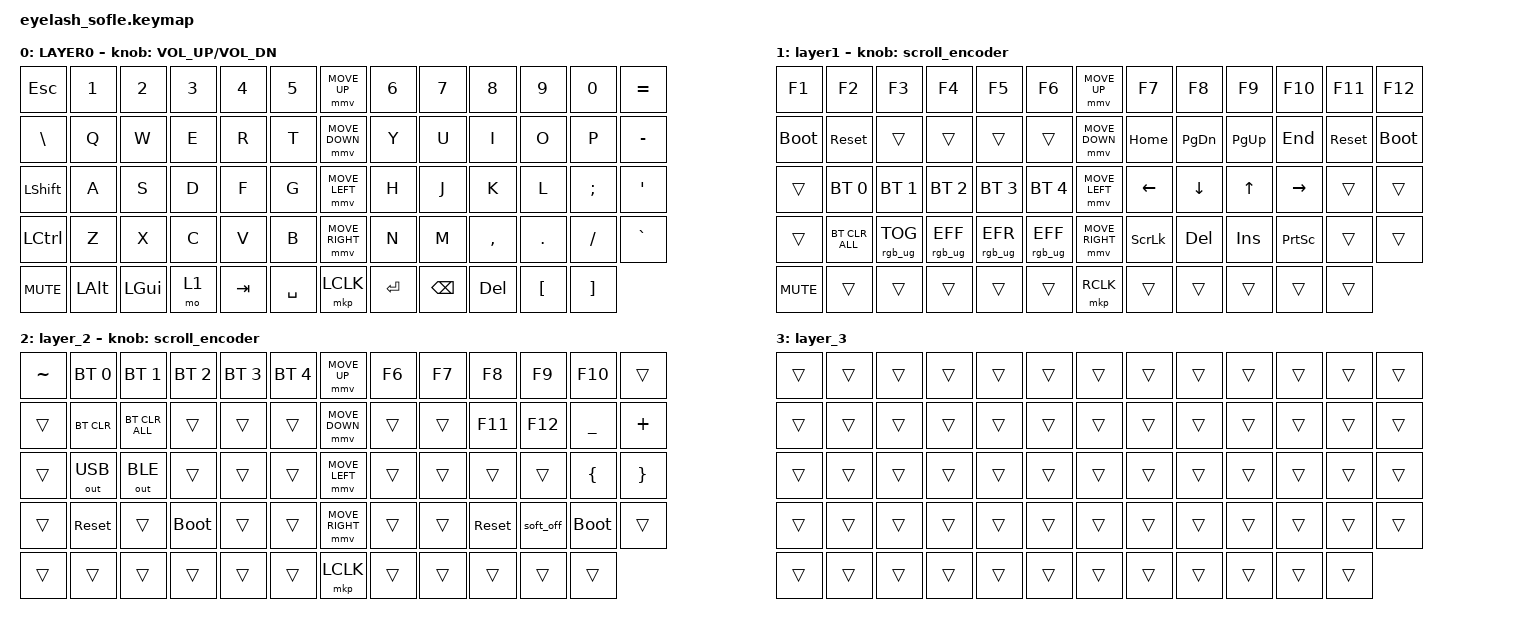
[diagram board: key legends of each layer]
#define ZMK_POINTING_DEFAULT_MOVE_VAL 1200  // 600
#define ZMK_POINTING_DEFAULT_SCRL_VAL 35    // 10

#include <input/processors.dtsi>
#include <zephyr/dt-bindings/input/input-event-codes.h>
#include <behaviors.dtsi>
#include <dt-bindings/zmk/bt.h>
#include <dt-bindings/zmk/keys.h>
#include <dt-bindings/zmk/outputs.h>
#include <dt-bindings/zmk/pointing.h>
#include <dt-bindings/zmk/pointing.h>
#include <dt-bindings/zmk/pointing.h>
#include <dt-bindings/zmk/rgb.h>

/ {
    zip_scroll_scaler: zip_scroll_scaler {
        compatible = "zmk,input-processor-scaler";
        #input-processor-cells = <2>;
        type = <INPUT_EV_REL>;
        codes = <INPUT_REL_WHEEL INPUT_REL_HWHEEL>;
        track-remainders;
    };
};

&mmv_input_listener { input-processors = <&zip_xy_scaler 2 1>; };

&msc_input_listener { input-processors = <&zip_scroll_scaler 2 1>; };

&msc {
    acceleration-exponent = <0>;      // 0
    time-to-max-speed-ms = <0>;       // 300
    delay-ms = <0>;                   // 0
};

&mmv {
    time-to-max-speed-ms = <400>;
    acceleration-exponent = <1>;
};

/ {
    scroll_encoder: scroll_encoder {
        compatible = "zmk,behavior-sensor-rotate";
        #sensor-binding-cells = <0>;
        bindings = <&msc SCRL_DOWN>, <&msc SCRL_UP>;

        tap-ms = <30>;
    };

    behaviors {
    };

    keymap {
        compatible = "zmk,keymap";

        layer0 {
            bindings = <
&kp ESC         &kp N1        &kp N2        &kp N3  &kp N4   &kp N5       &mmv MOVE_UP     &kp N6     &kp N7         &kp N8      &kp N9            &kp N0             &kp EQUAL
&kp BACKSLASH   &kp Q         &kp W         &kp E   &kp R    &kp T        &mmv MOVE_DOWN   &kp Y      &kp U          &kp I       &kp O             &kp P              &kp MINUS
&kp LEFT_SHIFT  &kp A         &kp S         &kp D   &kp F    &kp G        &mmv MOVE_LEFT   &kp H      &kp J          &kp K       &kp L             &kp SEMI           &kp APOS
&kp LCTRL       &kp Z         &kp X         &kp C   &kp V    &kp B        &mmv MOVE_RIGHT  &kp N      &kp M          &kp COMMA   &kp DOT           &kp FSLH           &kp GRAVE
&kp C_MUTE      &kp LEFT_ALT  &kp LEFT_GUI  &mo 1   &kp TAB  &kp SPACE    &mkp LCLK        &kp ENTER  &kp BACKSPACE  &kp DELETE  &kp LEFT_BRACKET  &kp RIGHT_BRACKET
            >;

            sensor-bindings = <&inc_dec_kp C_VOLUME_UP C_VOL_DN>;
            display-name = "LAYER0";
        };

        layer_1 {
            bindings = <
&kp F1       &kp F2          &kp F3           &kp F4           &kp F5           &kp F6             &mmv MOVE_UP     &kp F7          &kp F8          &kp F9        &kp F10          &kp F11     &kp F12
&bootloader  &sys_reset      &trans           &trans           &trans           &trans             &mmv MOVE_DOWN   &kp HOME        &kp PAGE_DOWN   &kp PG_UP     &kp END          &sys_reset  &bootloader
&trans       &bt BT_SEL 0    &bt BT_SEL 1     &bt BT_SEL 2     &bt BT_SEL 3     &bt BT_SEL 4       &mmv MOVE_LEFT   &kp LEFT        &kp DOWN_ARROW  &kp UP_ARROW  &kp RIGHT        &trans      &trans
&trans       &bt BT_CLR_ALL  &rgb_ug RGB_TOG  &rgb_ug RGB_EFF  &rgb_ug RGB_EFR  &rgb_ug RGB_EFF    &mmv MOVE_RIGHT  &kp SCROLLLOCK  &kp DELETE      &kp INSERT    &kp PRINTSCREEN  &trans      &trans
&kp C_MUTE   &trans          &trans           &trans           &trans           &trans             &mkp RCLK        &trans          &trans          &trans        &trans           &trans
            >;

            display-name = "layer1";
            sensor-bindings = <&scroll_encoder>;
        };

        layer_2 {
            bindings = <
&kp TILDE  &bt BT_SEL 0  &bt BT_SEL 1    &bt BT_SEL 2  &bt BT_SEL 3  &bt BT_SEL 4    &mmv MOVE_UP     &kp F6  &kp F7  &kp F8      &kp F9     &kp F10      &trans
&trans     &bt BT_CLR    &bt BT_CLR_ALL  &trans        &trans        &trans          &mmv MOVE_DOWN   &trans  &trans  &kp F11     &kp F12    &kp UNDER    &kp PLUS
&trans     &out OUT_USB  &out OUT_BLE    &trans        &trans        &trans          &mmv MOVE_LEFT   &trans  &trans  &trans      &trans     &kp LBRC     &kp RBRC
&trans     &sys_reset    &trans          &bootloader   &trans        &trans          &mmv MOVE_RIGHT  &trans  &trans  &sys_reset  &soft_off  &bootloader  &trans
&trans     &trans        &trans          &trans        &trans        &trans          &mkp LCLK        &trans  &trans  &trans      &trans     &trans
            >;

            sensor-bindings = <&scroll_encoder>;
        };

        layer_3 {
            bindings = <
&trans  &trans  &trans  &trans  &trans  &trans    &trans  &trans  &trans  &trans  &trans  &trans  &trans
&trans  &trans  &trans  &trans  &trans  &trans    &trans  &trans  &trans  &trans  &trans  &trans  &trans
&trans  &trans  &trans  &trans  &trans  &trans    &trans  &trans  &trans  &trans  &trans  &trans  &trans
&trans  &trans  &trans  &trans  &trans  &trans    &trans  &trans  &trans  &trans  &trans  &trans  &trans
&trans  &trans  &trans  &trans  &trans  &trans    &trans  &trans  &trans  &trans  &trans  &trans
            >;
        };
    };
};
